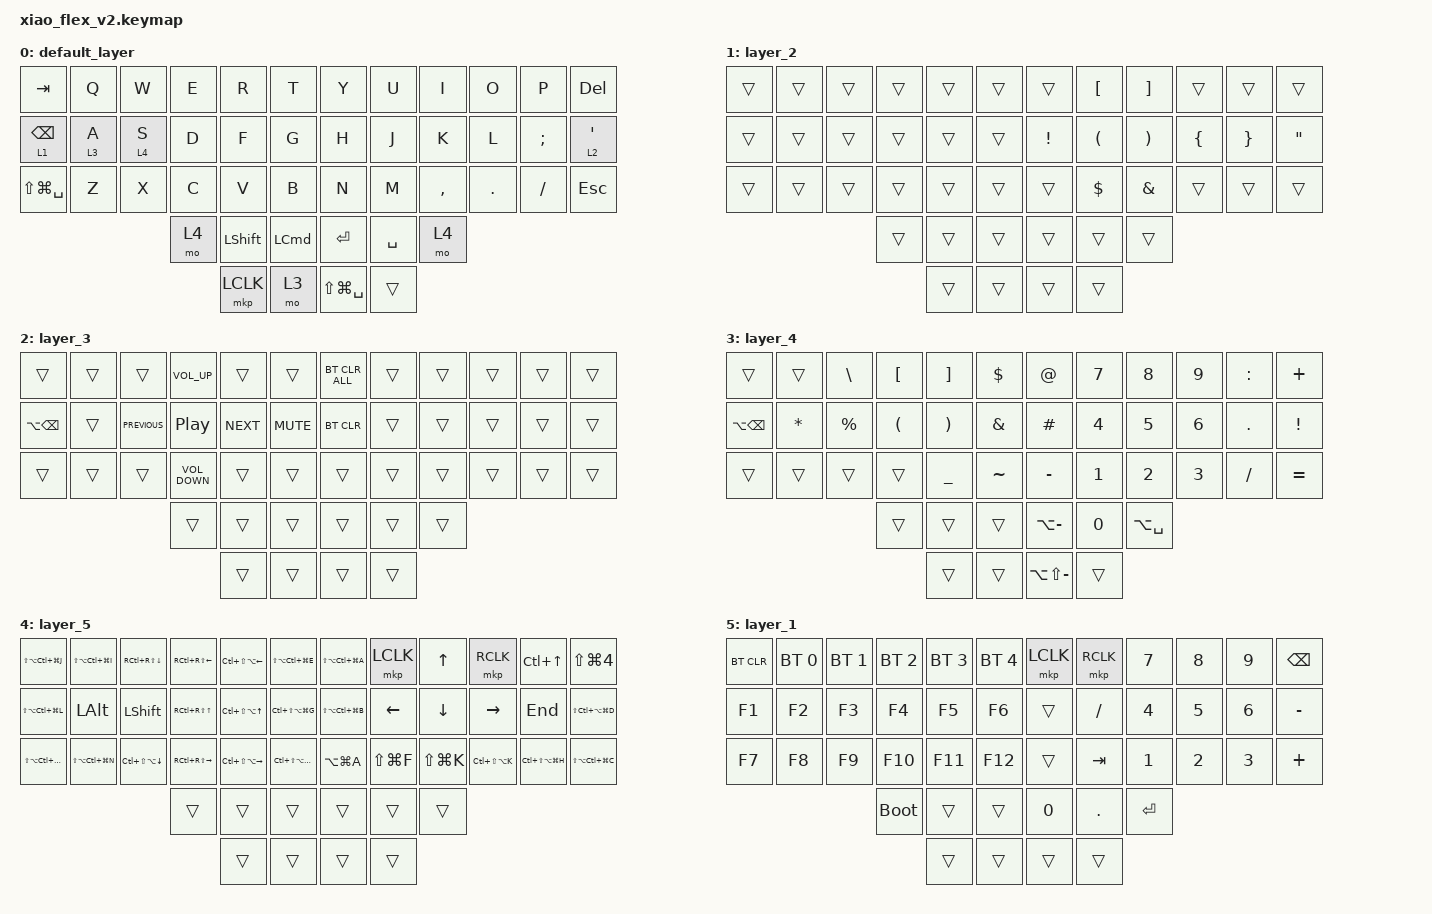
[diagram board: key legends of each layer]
/*
 * Copyright (c) 2020 The ZMK Contributors
 *
 * SPDX-License-Identifier: MIT
 */

#include <dt-bindings/led/led.h>
#include <behaviors/mouse_keys.dtsi>
#include <dt-bindings/zmk/mouse.h>
#include <behaviors.dtsi>
#include <dt-bindings/zmk/bt.h>
#include <dt-bindings/zmk/keys.h>

/ {
    combos {
        compatible = "zmk,combos";

        leftparen {
            bindings = <&kp LEFT_PARENTHESIS>;
            key-positions = <15 16>;
        };

        rightparen {
            bindings = <&kp RIGHT_PARENTHESIS>;
            key-positions = <19 20>;
        };

        leftbrace {
            bindings = <&kp LEFT_BRACKET>;
            key-positions = <3 2>;
            timeout-ms = <20>;
            require-prior-idle-ms = <80>;
        };

        rightbracket {
            bindings = <&kp RIGHT_BRACKET>;
            key-positions = <8 9>;
            timeout-ms = <20>;
            require-prior-idle-ms = <80>;
        };

        email {
            bindings = <&kp AT>;
            key-positions = <6 18>;
        };

        hash {
            bindings = <&kp HASH>;
            key-positions = <18 30>;
        };

        ampersand {
            bindings = <&kp AMPS>;
            key-positions = <5 17>;
        };

        percent {
            bindings = <&kp PERCENT>;
            key-positions = <17 29>;
        };

        dollar {
            bindings = <&kp DOLLAR>;
            key-positions = <4 16>;
        };

        star {
            bindings = <&kp ASTERISK>;
            key-positions = <16 28>;
        };

        endash {
            bindings = <&kp LA(MINUS)>;
            key-positions = <16 17>;
        };

        emdash {
            bindings = <&kp LS(LA(MINUS))>;
            key-positions = <18 19>;
        };

        hardspace {
            bindings = <&kp LA(SPACE)>;
            key-positions = <28 29>;
        };

        hyphen {
            bindings = <&kp MINUS>;
            key-positions = <30 31>;
        };

        exclamation {
            bindings = <&kp EXCL>;
            key-positions = <27 28>;
        };

        colon {
            bindings = <&kp COLON>;
            key-positions = <31 32>;
        };

        leftclick {
            bindings = <&mkp LCLK>;
            key-positions = <6 7>;
        };

        alfred {
            bindings = <&kp LG(SPACE)>;
            key-positions = <16 19>;
        };

        backword {
            bindings = <&kp LA(BACKSPACE)>;
            key-positions = <13 22>;
        };

        copy {
            bindings = <&kp LG(B)>;
            key-positions = <27 26>;
        };

        italics {
            bindings = <&kp LG(I)>;
            key-positions = <33 32>;
        };

        vimkeybindings {
            bindings = <&kp LS(LG(SPACE))>;
            key-positions = <15 20>;
        };
    };

    keymap {
        compatible = "zmk,keymap";

        default_layer {
            bindings = <
&kp TAB            &kp Q    &kp W    &kp E  &kp R           &kp T               &kp Y              &kp U      &kp I      &kp O    &kp P     &kp DELETE
&lt 1 BACKSPACE    &lt 3 A  &lt 4 S  &kp D  &kp F           &kp G               &kp H              &kp J      &kp K      &kp L    &kp SEMI  &lt 2 SINGLE_QUOTE
&kp LS(LG(SPACE))  &kp Z    &kp X    &kp C  &kp V           &kp B               &kp N              &kp M      &kp COMMA  &kp DOT  &kp FSLH  &kp ESCAPE
                                     &mo 4  &kp LEFT_SHIFT  &kp LEFT_COMMAND    &kp RET            &kp SPACE  &mo 4
                                            &mkp LCLK       &mo 3               &kp LS(LG(SPACE))  &trans
            >;
        };

        layer_2 {
            bindings = <
&trans  &trans  &trans  &trans  &trans  &trans    &trans    &kp LEFT_BRACKET      &kp RIGHT_BRACKET      &trans          &trans           &trans
&trans  &trans  &trans  &trans  &trans  &trans    &kp EXCL  &kp LEFT_PARENTHESIS  &kp RIGHT_PARENTHESIS  &kp LEFT_BRACE  &kp RIGHT_BRACE  &kp DOUBLE_QUOTES
&trans  &trans  &trans  &trans  &trans  &trans    &trans    &kp DOLLAR            &kp AMPERSAND          &trans          &trans           &trans
                        &trans  &trans  &trans    &trans    &trans                &trans
                                &trans  &trans    &trans    &trans
            >;
        };

        layer_3 {
            bindings = <
&trans             &trans  &trans          &kp K_VOLUME_UP    &trans      &trans        &bt BT_CLR_ALL  &trans  &trans  &trans  &trans  &trans
&kp LA(BACKSPACE)  &trans  &kp C_PREVIOUS  &kp C_PLAY_PAUSE   &kp C_NEXT  &kp K_MUTE    &bt BT_CLR      &trans  &trans  &trans  &trans  &trans
&trans             &trans  &trans          &kp K_VOLUME_DOWN  &trans      &trans        &trans          &trans  &trans  &trans  &trans  &trans
                                           &trans             &trans      &trans        &trans          &trans  &trans
                                                              &trans      &trans        &trans          &trans
            >;
        };

        layer_4 {
            bindings = <
&trans             &trans        &kp BACKSLASH  &kp LEFT_BRACKET      &kp RIGHT_BRACKET      &kp DOLLAR       &kp AT             &kp N7        &kp N8         &kp N9        &kp COLON   &kp PLUS
&kp LA(BACKSPACE)  &kp ASTERISK  &kp PERCENT    &kp LEFT_PARENTHESIS  &kp RIGHT_PARENTHESIS  &kp AMPERSAND    &kp HASH           &kp NUMBER_4  &kp N5         &kp NUMBER_6  &kp PERIOD  &kp EXCL
&trans             &trans        &trans         &trans                &kp UNDERSCORE         &kp TILDE        &kp MINUS          &kp NUMBER_1  &kp NUMBER_2   &kp NUMBER_3  &kp SLASH   &kp EQUAL
                                                &trans                &trans                 &trans           &kp LA(MINUS)      &kp N0        &kp LA(SPACE)
                                                                      &trans                 &trans           &kp LA(LS(MINUS))  &trans
            >;
        };

        layer_5 {
            bindings = <
&kp LS(LA(LC(LG(J))))  &kp LS(LA(LC(LG(I))))  &kp RC(RS(DOWN))      &kp RC(RS(LEFT_ARROW))  &kp LC(LS(LA(LEFT_ARROW)))  &kp LS(LA(LC(LG(E))))           &kp LS(LA(LC(LG(A))))  &mkp LCLK      &kp UP_ARROW   &mkp RCLK          &kp LC(UP_ARROW)       &kp LS(LG(NUMBER_4))
&kp LS(LA(LC(LG(L))))  &kp LALT               &kp LEFT_SHIFT        &kp RC(RS(UP_ARROW))    &kp LC(LS(LA(UP_ARROW)))    &kp LC(LS(LA(LG(G))))           &kp LS(LA(LC(LG(B))))  &kp LEFT       &kp DOWN       &kp RIGHT          &kp END                &kp LS(LC(LA(LG(D))))
&kp LS(LA(LC(LG(M))))  &kp LS(LA(LC(LG(N))))  &kp LC(LS(LA(DOWN)))  &kp RC(RS(RIGHT))       &kp LC(LS(LA(RIGHT)))       &kp LC(LS(LA(LG(UP_ARROW))))    &kp LA(LG(A))          &kp LS(LG(F))  &kp LS(LG(K))  &kp LC(LS(LA(K)))  &kp LC(LS(LA(LG(H))))  &kp LS(LA(LC(LG(C))))
                                                                    &trans                  &trans                      &trans                          &trans                 &trans         &trans
                                                                                            &trans                      &trans                          &trans                 &trans
            >;
        };

        layer_1 {
            bindings = <
&bt BT_CLR  &bt BT_SEL 0  &bt BT_SEL 1  &bt BT_SEL 2  &bt BT_SEL 3  &bt BT_SEL 4    &mkp LCLK  &mkp RCLK  &kp N7     &kp N8  &kp N9  &kp BSPC
&kp F1      &kp F2        &kp F3        &kp F4        &kp F5        &kp F6          &trans     &kp FSLH   &kp N4     &kp N5  &kp N6  &kp MINUS
&kp F7      &kp F8        &kp F9        &kp F10       &kp F11       &kp F12         &trans     &kp TAB    &kp N1     &kp N2  &kp N3  &kp PLUS
                                        &bootloader   &trans        &trans          &kp N0     &kp DOT    &kp ENTER
                                                      &trans        &trans          &trans     &trans
            >;
        };
    };
};
